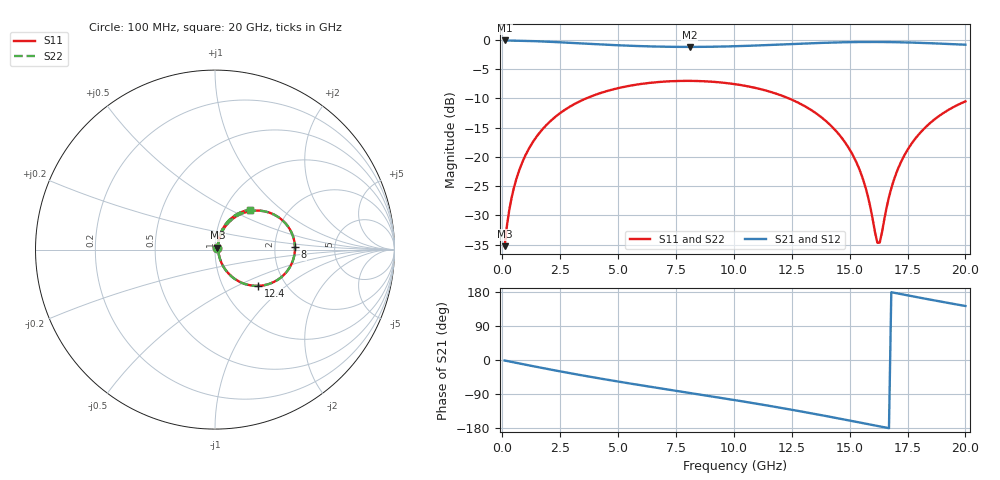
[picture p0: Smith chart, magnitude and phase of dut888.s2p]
! Touchstone file exported from HFSS 2026.1.0
!  File:  C:/ffzhzh/LocalFiles/Ansys_Project_Files/temp_train_TSV_RDL_888_1783274614_38820.aedt
!  Generated:  02:15:08 AM Jul  6, 2026
!  Design:  TSV_RDL
!  Project:  temp_train_TSV_RDL_888_1783274614_38820
! Variables:
!  h_bsmrdl = 5.52um
!  h_ox = 20um
!  h_rdl = 5um
!  h_sub = 91.07um
!  h_tmrdl = 5.06um
!  h_tsv = 91.07um
!  h_via = 3um
!  l_bsmrdl = 681.53um
!  l_sub = 3475.14um
!  l_tmrdl = 220.67um
!  m_sub = 200um
!  pitch = 48.51um
!  r_tsv = 3.96um
!  s_tmrdl = 10um
!  w_bsmrdl = 29.99um
!  w_sub = 500um
!  w_tmrdl = 19.3um
!  x_tsv_center1 = 230.32um
!  x_tsv_center2 = 941.84um
!  x_tsv_center3 = 1181.81um
!  x_tsv_center4 = 1893.33um
!  x_tsv_center5 = 2133.3um
!  x_tsv_center6 = 2844.82um
# GHz S MA R 50.000000
! Terminal data exported
! Port[1] = TM_RDL1_1_T1
! Port[2] = TM_RDL5_1_T1
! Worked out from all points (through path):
!   200 points, 100 MHz to 20 GHz, reference 50 ohm
!   highest |S21| = -0.11 dB at 100 MHz (marker M1); lowest = -1.2 dB at 8.1 GHz (marker M2)
!   group delay of S21, straight-line fit = 29.5 ps
!   lowest |S11| = -35.3 dB at 100 MHz (marker M3), VSWR 1.04, Z = 51.3 + j1.12 ohm
!   |S11| at or under -10 dB: start of sweep to 3.634 GHz; 12.36 GHz to end of sweep
!   |S22| runs from -35.3 to -7.0 dB; largest |S21 - S12| = 1.7e-14
!   S11 on the Smith chart (normalised r, x): 100 MHz: 1.03, +0.02; 8 GHz: 2.60, +0.09; 12.4 GHz: 1.46, -0.65; 20 GHz: 1.31, +0.64
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0.1  0.01724 39.3  0.9868 -1.3  0.9868 -1.3  0.01724 39.3
! Gamma 0 0 0 0
! Port Impedance 50 0 50 0
0.3  0.03501 62.1  0.9852 -3.8  0.9852 -3.8  0.03501 62.1
0.5  0.05417 67.8  0.9838 -6.2  0.9838 -6.2  0.05418 67.8
1.1  0.1126 68.2  0.9777 -13.5  0.9777 -13.5  0.1126 68.2
2.1  0.2037 59.3  0.9604 -25.4  0.9604 -25.4  0.2037 59.3
3.5  0.3079 44.8  0.9291 -41.1  0.9291 -41.1  0.3079 44.8
6.8  0.4364 12.8  0.874 -74.6  0.874 -74.6  0.4364 12.7
8  0.4457 1.7  0.869 -86.1  0.869 -86.1  0.4457 1.7
8.1  0.4456 0.8  0.869 -87.0  0.869 -87.0  0.4456 0.8
10.1  0.4162 -17.7  0.8815 -106.4  0.8815 -106.4  0.4162 -17.8
12.4  0.3141 -40.0  0.9176 -130.2  0.9176 -130.2  0.3141 -40.1
13.4  0.2467 -49.9  0.9347 -141.3  0.9347 -141.3  0.2467 -50.0
14.4  0.1674 -59.1  0.9487 -152.7  0.9487 -152.7  0.1674 -59.3
15.2  0.09792 -63.8  0.9558 -162.1  0.9558 -162.1  0.09785 -64.2
15.7  0.05367 -60.7  0.9578 -168.1  0.9578 -168.1  0.05352 -61.3
16.2  0.01841 -9.8  0.9578 -174.0  0.9578 -174.0  0.01785 -10.4
16.3  0.01852 18.0  0.9576 -175.2  0.9576 -175.2  0.01794 18.4
16.7  0.0453 65.0  0.9558 -180.0  0.9558 -180.0  0.04504 65.7
17.2  0.08859 70.9  0.9519 174.1  0.9519 174.1  0.08844 71.2
17.9  0.1483 67.6  0.9436 165.9  0.9436 165.9  0.1482 67.9
18.8  0.2188 59.9  0.9294 155.7  0.9294 155.7  0.2187 60.0
20  0.2975 48.4  0.9076 142.5  0.9076 142.5  0.2974 48.5
